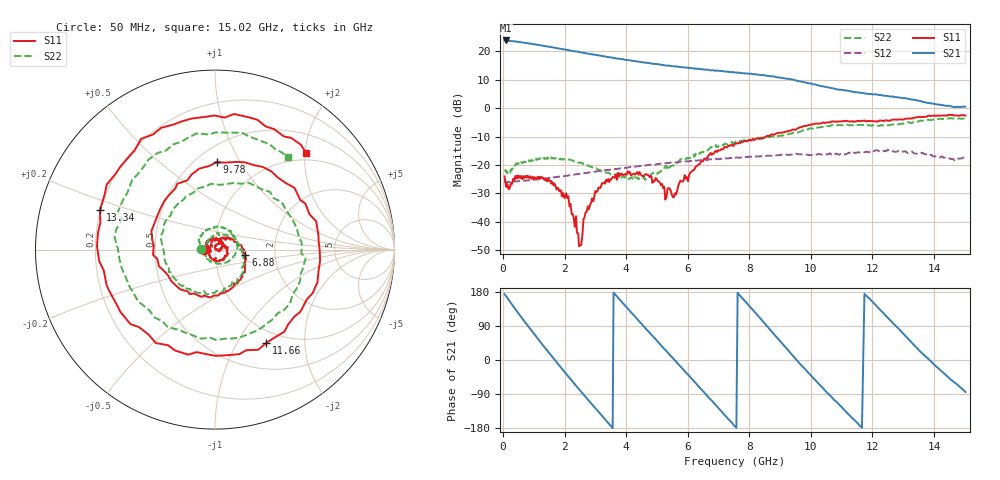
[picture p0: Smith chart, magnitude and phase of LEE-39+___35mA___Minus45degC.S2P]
! Mini-Circuits
! S2P DATA File Format
! Type: MMIC Amplifier
! Model: LEE-39+
! TEST CONDITIONS: INPUT POWER = -25dBm, Icc = 35mA, Vd = 3.78V @Temperature = -45degC
! 401 Frequency points
! S Parameters are in dB deg format
# MHz S DB R 50
!  FREQ  dB(S11)  PHS(S11)  dB(S21)  PHS(S21)  dB(S12)  PHS(S12)  dB(S22)  PHS(S22)
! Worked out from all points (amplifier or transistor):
!   401 points, 50 MHz to 15.02 GHz, reference 50 ohm
!   highest |S21| = 23.9 dB at 80 MHz (marker M1)
!   |S21| within 3 dB of that: start of sweep to 1.901 GHz
!   unconditionally stable (mu >= 1): start of sweep to end of sweep
!   at 1.04 GHz: K = 1.04, MAG = 22.6 dB, |S12| = -25.2 dB
!   at 4.57 GHz: K = 1.11, MAG = 16.2 dB, |S12| = -20.3 dB
!   at 15.02 GHz: K = 1.09, MAG = 7.1 dB, |S12| = -17.2 dB
!   S11 on the Smith chart (normalised r, x): 50 MHz: 0.88, -0.01; 6.88 GHz: 1.41, -0.09; 9.78 GHz: 0.63, +0.80; 11.66 GHz: 0.83, -1.33; 13.34 GHz: 0.20, +0.16; 15.02 GHz: 0.85, +2.02
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50  -24.07 -176.5  23.82 173.6  -26.38 -3.1  -22.34 176.6
80  -25.91 174.9  23.88 170.3  -25.87 -4.3  -21.82 176.6
425  -23.87 140.9  23.50 131.2  -25.82 -24.8  -19.51 148.9
725  -24.38 108.8  23.02 98.7  -25.48 -42.7  -18.89 124.7
1040  -24.36 77.8  22.51 65.2  -25.20 -62.3  -18.48 94.8
1460  -24.98 39.6  21.75 22.1  -24.59 -89.0  -17.84 58.7
2020  -30.65 -3.2  20.68 -33.8  -23.85 -126.4  -18.12 12.1
2580  -44.41 88.5  19.59 -88.0  -23.00 -165.2  -19.28 -30.5
3100  -27.92 59.6  18.63 -136.8  -22.19 157.4  -21.73 -73.6
3560  -24.26 19.0  17.80 -179.5  -21.54 123.7  -23.02 -114.9
4290  -23.42 -35.2  16.55 114.2  -20.62 68.5  -24.48 170.0
5060  -25.84 -115.1  15.45 45.4  -19.69 9.9  -22.80 99.6
5800  -25.76 85.7  14.47 -20.3  -18.86 -48.9  -17.90 39.6
6880  -15.26 -10.3  13.25 -116.8  -17.94 -135.2  -13.56 -53.1
7550  -12.52 -68.6  12.59 -176.5  -17.43 170.4  -11.83 -109.1
8520  -10.13 -158.8  11.51 94.5  -16.80 90.8  -10.44 172.0
9780  -6.25 88.9  9.19 -21.2  -16.46 -15.3  -7.60 63.3
10060  -5.72 65.7  8.46 -46.0  -16.35 -38.8  -7.24 41.1
11660  -4.53 -61.4  5.38 -178.9  -15.44 -165.7  -5.86 -74.7
12580  -4.37 -134.5  4.11 104.8  -15.03 114.4  -5.91 -142.1
13340  -3.38 161.0  3.00 40.8  -15.86 48.5  -4.72 158.5
15020  -2.61 46.8  0.54 -84.5  -17.16 -69.9  -3.66 51.8
